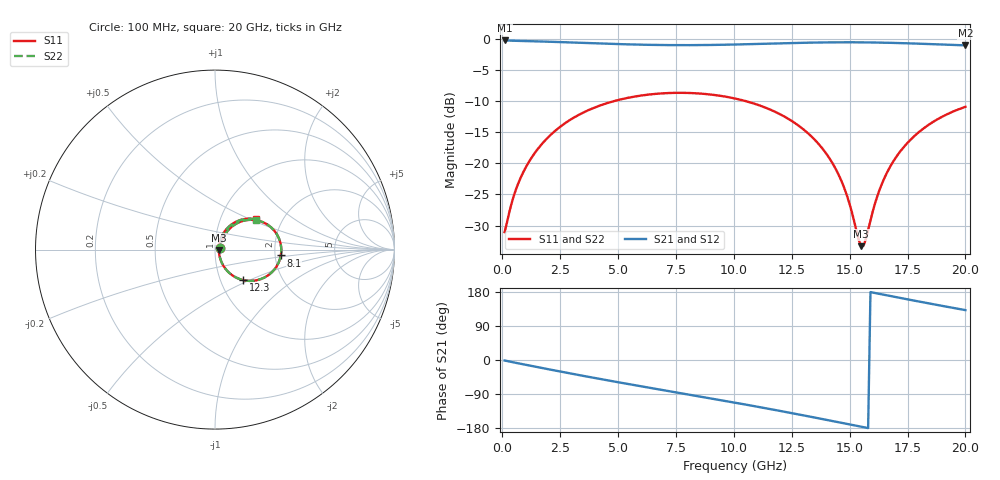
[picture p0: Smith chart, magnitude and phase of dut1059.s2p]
! Touchstone file exported from HFSS 2026.1.0
!  File:  C:/ffzhzh/LocalFiles/Ansys_Project_Files/temp_train_TSV_RDL_1059_1783297983_30076.aedt
!  Generated:  08:40:34 AM Jul  6, 2026
!  Design:  TSV_RDL
!  Project:  temp_train_TSV_RDL_1059_1783297983_30076
! Variables:
!  h_bsmrdl = 3.73um
!  h_ox = 20um
!  h_rdl = 5um
!  h_sub = 50.44um
!  h_tmrdl = 2.48um
!  h_tsv = 50.44um
!  h_via = 3um
!  l_bsmrdl = 233.87um
!  l_sub = 3990.34um
!  l_tmrdl = 697.83um
!  m_sub = 200um
!  pitch = 30.83um
!  r_tsv = 9.02um
!  s_tmrdl = 10um
!  w_bsmrdl = 12.58um
!  w_sub = 500um
!  w_tmrdl = 19.89um
!  x_tsv_center1 = 707.775um
!  x_tsv_center2 = 954.225um
!  x_tsv_center3 = 1671.945um
!  x_tsv_center4 = 1918.395um
!  x_tsv_center5 = 2636.115um
!  x_tsv_center6 = 2882.565um
# GHz S MA R 50.000000
! Terminal data exported
! Port[1] = TM_RDL1_1_T1
! Port[2] = TM_RDL5_1_T1
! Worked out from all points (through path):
!   200 points, 100 MHz to 20 GHz, reference 50 ohm
!   highest |S21| = -0.23 dB at 100 MHz (marker M1); lowest = -1.0 dB at 20 GHz (marker M2)
!   group delay of S21, straight-line fit = 31.4 ps
!   lowest |S11| = -33.3 dB at 15.5 GHz (marker M3), VSWR 1.04, Z = 52.2 - j0.32 ohm
!   |S11| at or under -10 dB: start of sweep to 4.812 GHz; 10.53 GHz to end of sweep
!   |S22| runs from -33.1 to -8.7 dB; largest |S21 - S12| = 1.7e-14
!   S11 on the Smith chart (normalised r, x): 100 MHz: 1.05, +0.02; 8.1 GHz: 2.15, -0.16; 12.3 GHz: 1.28, -0.46; 20 GHz: 1.48, +0.54
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0.1  0.02798 19.6  0.9738 -1.3  0.9738 -1.3  0.02798 19.6
! Gamma 0 0 0 0
! Port Impedance 50 0 50 0
0.6  0.06247 52.6  0.9674 -7.7  0.9674 -7.7  0.06248 52.6
1.3  0.1137 56.5  0.9595 -16.1  0.9595 -16.1  0.1137 56.5
2.3  0.1838 51.0  0.9478 -28.0  0.9478 -28.0  0.1838 51.0
3.5  0.2564 40.3  0.931 -41.9  0.931 -41.9  0.2564 40.3
5.1  0.3264 24.7  0.9095 -59.7  0.9095 -59.7  0.3264 24.7
6.8  0.3644 7.8  0.8952 -78.0  0.8952 -78.0  0.3644 7.8
8.1  0.3681 -5.1  0.893 -91.7  0.893 -91.7  0.368 -5.1
10.1  0.3308 -25.1  0.9037 -113.1  0.9037 -113.1  0.3308 -25.1
12.3  0.2312 -47.3  0.9262 -137.9  0.9262 -137.9  0.2312 -47.3
13.4  0.1613 -57.4  0.9359 -150.8  0.9359 -150.8  0.1613 -57.3
14.1  0.112 -62.1  0.9399 -159.1  0.9399 -159.1  0.112 -61.9
14.6  0.07554 -62.5  0.9413 -165.1  0.9413 -165.1  0.07564 -62.2
15  0.047 -56.6  0.9415 -170.0  0.9415 -170.0  0.0472 -56.0
15.5  0.02159 -8.2  0.9405 -176.0  0.9405 -176.0  0.02213 -7.9
15.6  0.02179 11.2  0.9401 -177.2  0.9401 -177.2  0.02235 11.0
15.7  0.02455 27.9  0.9397 -178.4  0.9397 -178.4  0.02507 27.3
16.2  0.05475 59.5  0.9368 175.5  0.9368 175.5  0.05503 58.9
16.7  0.09038 63.0  0.9326 169.5  0.9326 169.5  0.09058 62.6
17.3  0.1326 60.6  0.9263 162.4  0.9263 162.4  0.1328 60.3
18  0.179 55.1  0.9174 154.2  0.9174 154.2  0.1791 54.9
20  0.2849 36.1  0.8895 131.6  0.8895 131.6  0.285 35.9
